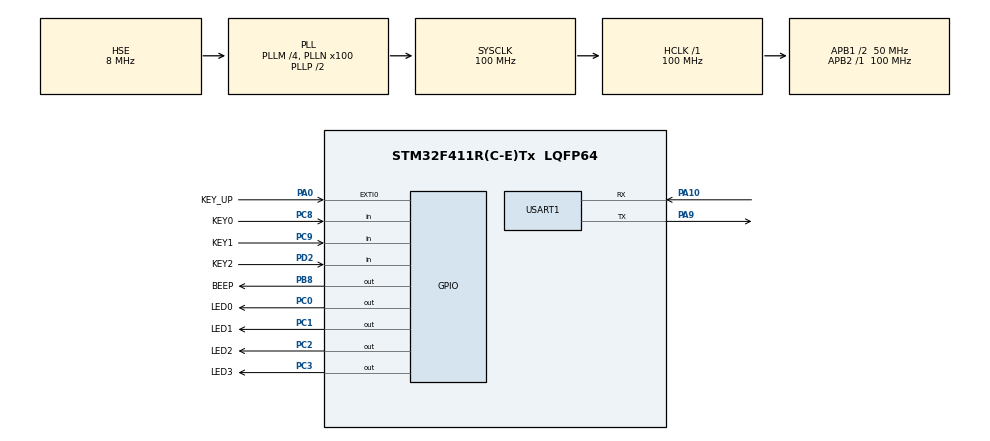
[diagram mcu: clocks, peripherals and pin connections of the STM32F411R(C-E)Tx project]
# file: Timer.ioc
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Dma.Request0=USART1_RX
Dma.Request1=USART1_TX
Dma.USART1_RX.0.Direction=DMA_PERIPH_TO_MEMORY
Dma.USART1_RX.0.FIFOMode=DMA_FIFOMODE_DISABLE
Dma.USART1_RX.0.Instance=DMA2_Stream2
Dma.USART1_RX.0.MemDataAlignment=DMA_MDATAALIGN_BYTE
Dma.USART1_RX.0.MemInc=DMA_MINC_ENABLE
Dma.USART1_RX.0.Mode=DMA_NORMAL
Dma.USART1_RX.0.PeriphDataAlignment=DMA_PDATAALIGN_BYTE
Dma.USART1_RX.0.PeriphInc=DMA_PINC_DISABLE
Dma.USART1_RX.0.Priority=DMA_PRIORITY_LOW
Dma.USART1_TX.1.Direction=DMA_MEMORY_TO_PERIPH
Dma.USART1_TX.1.FIFOMode=DMA_FIFOMODE_DISABLE
Dma.USART1_TX.1.Instance=DMA2_Stream7
Dma.USART1_TX.1.MemDataAlignment=DMA_MDATAALIGN_BYTE
Dma.USART1_TX.1.MemInc=DMA_MINC_ENABLE
Dma.USART1_TX.1.Mode=DMA_NORMAL
Dma.USART1_TX.1.PeriphDataAlignment=DMA_PDATAALIGN_BYTE
Dma.USART1_TX.1.PeriphInc=DMA_PINC_DISABLE
Dma.USART1_TX.1.Priority=DMA_PRIORITY_LOW
Mcu.Family=STM32F4
Mcu.Name=STM32F411R(C-E)Tx
Mcu.Package=LQFP64
NVIC.DMA2_Stream2_IRQn=true\:2\:0\:true\:false\:true\:false\:true\:true
NVIC.DMA2_Stream7_IRQn=true\:3\:0\:true\:false\:true\:false\:true\:true
NVIC.PriorityGroup=NVIC_PRIORITYGROUP_4
NVIC.TIM3_IRQn=true\:1\:0\:true\:false\:true\:true\:true\:true
NVIC.USART1_IRQn=true\:4\:0\:true\:false\:true\:true\:true\:true
PA0-WKUP.GPIO_Label=KEY_UP
PA0-WKUP.GPIO_PuPd=GPIO_PULLDOWN
PA0-WKUP.Signal=GPXTI0
PA10.Mode=Asynchronous
PA10.Signal=USART1_RX
PA13.Mode=Serial_Wire
PA13.Signal=SYS_JTMS-SWDIO
PA14.Mode=Serial_Wire
PA14.Signal=SYS_JTCK-SWCLK
PA9.Mode=Asynchronous
PA9.Signal=USART1_TX
PB8.GPIO_Label=BEEP
PB8.GPIO_Speed=GPIO_SPEED_FREQ_HIGH
PB8.PinState=GPIO_PIN_SET
PB8.Signal=GPIO_Output
PC0.GPIO_Label=LED0
PC0.GPIO_Speed=GPIO_SPEED_FREQ_HIGH
PC0.PinState=GPIO_PIN_SET
PC0.Signal=GPIO_Output
PC1.GPIO_Label=LED1
PC1.GPIO_Speed=GPIO_SPEED_FREQ_HIGH
PC1.PinState=GPIO_PIN_SET
PC1.Signal=GPIO_Output
PC2.GPIO_Label=LED2
PC2.PinState=GPIO_PIN_SET
PC2.Signal=GPIO_Output
PC3.GPIO_Label=LED3
PC3.PinState=GPIO_PIN_SET
PC3.Signal=GPIO_Output
PC8.GPIO_Label=KEY0
PC8.GPIO_PuPd=GPIO_PULLUP
PC8.Signal=GPIO_Input
PC9.GPIO_Label=KEY1
PC9.GPIO_PuPd=GPIO_PULLUP
PC9.Signal=GPIO_Input
PD2.GPIO_Label=KEY2
PD2.GPIO_PuPd=GPIO_PULLUP
PD2.Signal=GPIO_Input
PH0\ -\ OSC_IN.Mode=HSE-External-Oscillator
PH0\ -\ OSC_IN.Signal=RCC_OSC_IN
PH1\ -\ OSC_OUT.Mode=HSE-External-Oscillator
PH1\ -\ OSC_OUT.Signal=RCC_OSC_OUT
ProjectManager.HeapSize=0x200
ProjectManager.StackSize=0x400
ProjectManager.TargetToolchain=MDK-ARM V5.32
RCC.48MHZClocksFreq_Value=50000000
RCC.AHBFreq_Value=100000000
RCC.APB1CLKDivider=RCC_HCLK_DIV2
RCC.APB1Freq_Value=50000000
RCC.APB1TimFreq_Value=100000000
RCC.APB2Freq_Value=100000000
RCC.APB2TimFreq_Value=100000000
RCC.CortexFreq_Value=100000000
RCC.HCLKFreq_Value=100000000
RCC.HSE_VALUE=8000000
RCC.HSI_VALUE=16000000
RCC.LSE_VALUE=32768
RCC.PLLM=4
RCC.PLLN=100
RCC.PLLSourceVirtual=RCC_PLLSOURCE_HSE
RCC.SYSCLKFreq_VALUE=100000000
RCC.SYSCLKSource=RCC_SYSCLKSOURCE_PLLCLK
RCC.VCOOutputFreq_Value=200000000
TIM3.Period=9999
TIM3.Prescaler=4999
USART1.VirtualMode=VM_ASYNC
VP_TIM3_VS_ClockSourceINT.Mode=Internal
board=custom

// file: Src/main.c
/* USER CODE BEGIN Header */
/**
  ******************************************************************************
  * @file           : main.c
  * @brief          : Main program body
  ******************************************************************************
  * @attention
  *
  * Copyright (c) 2026 STMicroelectronics.
  * All rights reserved.
  *
  * This software is licensed under terms that can be found in the LICENSE file
  * in the root directory of this software component.
  * If no LICENSE file comes with this software, it is provided AS-IS.
  *
  ******************************************************************************
  */
/* USER CODE END Header */
#include "main.h"
#include "dma.h"
#include "tim.h"
#include "usart.h"
#include "gpio.h"

/* USER CODE BEGIN Includes */
#include <stdio.h>
#include <string.h>
/* USER CODE END Includes */

/* USER CODE BEGIN PV */
volatile uint32_t seconds_count = 0;
volatile uint8_t flag_led1_1s = 0;
volatile uint8_t flag_led2_2s = 0;
volatile uint8_t flag_uart_3s = 0;
char tx_buffer[50];
/* USER CODE END PV */

void SystemClock_Config(void);

int main(void)
{

  /* MCU Configuration--------------------------------------------------------*/

  /* Reset of all peripherals, Initializes the Flash interface and the Systick. */
  HAL_Init();

  /* Configure the system clock */
  SystemClock_Config();

  /* Initialize all configured peripherals */
  MX_GPIO_Init();
  MX_DMA_Init();
  MX_USART1_UART_Init();
  MX_TIM3_Init();
  /* USER CODE BEGIN 2 */
  HAL_TIM_Base_Start_IT(&htim3);
  /* USER CODE END 2 */

  /* Infinite loop */
  while (1)
  {

      /* USER CODE BEGIN 3 */
      // ?? LED1
      if (flag_led1_1s)
      {
          flag_led1_1s = 0;
          HAL_GPIO_TogglePin(LED0_GPIO_Port, LED0_Pin);
      }

      // ?? LED2
      if (flag_led2_2s)
      {
          flag_led2_2s = 0;
          HAL_GPIO_TogglePin(LED1_GPIO_Port, LED1_Pin);
      }

      // ?? ????
      if (flag_uart_3s)
      {
          flag_uart_3s = 0;

          if (huart1.gState == HAL_UART_STATE_READY)
          {
              uint32_t actual_seconds = seconds_count / 2;
              // ??? %d ?? %lu,??? uint32_t ??
              sprintf(tx_buffer, "Elapsed Time: %d seconds\r\n", actual_seconds);
              HAL_UART_Transmit_IT(&huart1, (uint8_t *)tx_buffer, strlen(tx_buffer));
          }
      }
  }
  /* USER CODE END 3 */
}
void SystemClock_Config(void)
{
  RCC_OscInitTypeDef RCC_OscInitStruct = {0};
  RCC_ClkInitTypeDef RCC_ClkInitStruct = {0};

  /** Configure the main internal regulator output voltage
  */
  __HAL_RCC_PWR_CLK_ENABLE();
  __HAL_PWR_VOLTAGESCALING_CONFIG(PWR_REGULATOR_VOLTAGE_SCALE1);

  /** Initializes the RCC Oscillators according to the specified parameters
  * in the RCC_OscInitTypeDef structure.
  */
  RCC_OscInitStruct.OscillatorType = RCC_OSCILLATORTYPE_HSE;
  RCC_OscInitStruct.HSEState = RCC_HSE_ON;
  RCC_OscInitStruct.PLL.PLLState = RCC_PLL_ON;
  RCC_OscInitStruct.PLL.PLLSource = RCC_PLLSOURCE_HSE;
  RCC_OscInitStruct.PLL.PLLM = 4;
  RCC_OscInitStruct.PLL.PLLN = 100;
  RCC_OscInitStruct.PLL.PLLP = RCC_PLLP_DIV2;
  RCC_OscInitStruct.PLL.PLLQ = 4;
  if (HAL_RCC_OscConfig(&RCC_OscInitStruct) != HAL_OK)
  {
    Error_Handler();
  }

  /** Initializes the CPU, AHB and APB buses clocks
  */
  RCC_ClkInitStruct.ClockType = RCC_CLOCKTYPE_HCLK|RCC_CLOCKTYPE_SYSCLK
                              |RCC_CLOCKTYPE_PCLK1|RCC_CLOCKTYPE_PCLK2;
  RCC_ClkInitStruct.SYSCLKSource = RCC_SYSCLKSOURCE_PLLCLK;
  RCC_ClkInitStruct.AHBCLKDivider = RCC_SYSCLK_DIV1;
  RCC_ClkInitStruct.APB1CLKDivider = RCC_HCLK_DIV2;
  RCC_ClkInitStruct.APB2CLKDivider = RCC_HCLK_DIV1;

  if (HAL_RCC_ClockConfig(&RCC_ClkInitStruct, FLASH_LATENCY_3) != HAL_OK)
  {
    Error_Handler();
  }
}

/* USER CODE BEGIN 4 */
void HAL_TIM_PeriodElapsedCallback(TIM_HandleTypeDef *htim)
{
    if (htim->Instance == TIM3)
    {
        seconds_count++;
        flag_led1_1s = 1;

        if (seconds_count % 2 == 0)
        {
            flag_led2_2s = 1;
        }

        if (seconds_count % 6 == 0)
        {
            flag_uart_3s = 1;
        }
    }
}
/* USER CODE END 4 */

void Error_Handler(void)
{
  __disable_irq();
  while (1)
  {
  }
}
